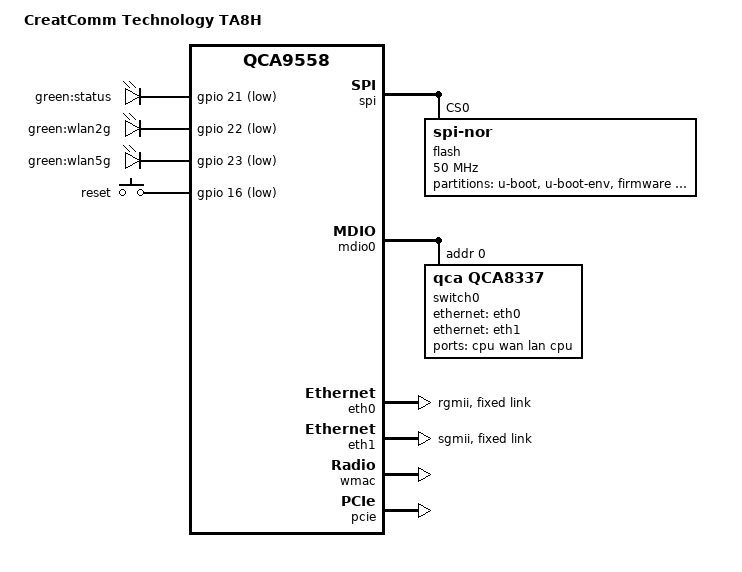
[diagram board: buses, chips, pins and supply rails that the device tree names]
// SPDX-License-Identifier: GPL-2.0-or-later OR MIT

/dts-v1/;

#include <dt-bindings/gpio/gpio.h>
#include <dt-bindings/input/input.h>

#include "qca955x.dtsi"

/ {
	compatible = "creatcomm,ta8h", "qca,qca9558";
	model = "CreatComm Technology TA8H";

	aliases {
		led-boot = &led_status;
		led-failsafe = &led_status;
		led-running = &led_status;
		led-upgrade = &led_status;
		label-mac-device = &eth0;
	};

	leds {
		compatible = "gpio-leds";

		led_status: status {
			label = "green:status";
			gpios = <&gpio 21 GPIO_ACTIVE_LOW>;
			default-state = "on";
		};

		wlan2g {
			label = "green:wlan2g";
			gpios = <&gpio 22 GPIO_ACTIVE_LOW>;
			linux,default-trigger = "phy1tpt";
		};

		wlan5g {
			label = "green:wlan5g";
			gpios = <&gpio 23 GPIO_ACTIVE_LOW>;
			linux,default-trigger = "phy0tpt";
		};
	};

	keys {
		compatible = "gpio-keys";

		reset {
			label = "reset";
			linux,code = <KEY_RESTART>;
			gpios = <&gpio 16 GPIO_ACTIVE_LOW>;
			debounce-interval = <60>;
		};
	};
};

&spi {
	status = "okay";

	flash@0 {
		compatible = "jedec,spi-nor";
		reg = <0>;
		spi-max-frequency = <50000000>;

		partitions {
			compatible = "fixed-partitions";
			#address-cells = <1>;
			#size-cells = <1>;

			partition@0 {
				label = "u-boot";
				reg = <0x000000 0x040000>;
				read-only;
			};

			partition@40000 {
				label = "u-boot-env";
				reg = <0x040000 0x010000>;
			};

			partition@50000 {
				compatible = "openwrt,uimage", "denx,uimage";
				openwrt,ih-magic = <0x27051956>;
				label = "firmware";
				reg = <0x050000 0xfa0000>;
			};

			art: partition@ff0000 {
				label = "art";
				reg = <0xff0000 0x010000>;
				read-only;

				nvmem-layout {
					compatible = "fixed-layout";
					#address-cells = <1>;
					#size-cells = <1>;

					macaddr_art_0: macaddr@0 {
						reg = <0x0 0x6>;
					};

					macaddr_art_6: macaddr@6 {
						reg = <0x6 0x6>;
					};

					cal_art_1000: cal@1000 {
						reg = <0x1000 0x440>;
					};

					cal_art_5000: cal@5000 {
						reg = <0x5000 0x844>;
					};
				};
			};
		};
	};
};

&mdio0 {
	status = "okay";

	switch0: switch@0 {
		compatible = "qca,qca8337", "qca,ar8327";
		reg = <0>;

		qca,ar8327-initvals = <
			0x04 0x03000101 /* PORT0 PAD MODE: RGMII with TX/RX clock delay */
			0x0c 0x4a000000 /* PORT6 PAD MODE: SGMII */
			0x7c 0x0000007e /* PORT0 STATUS: 1000M Full Duplex */
			0x94 0x0000007e /* PORT6 STATUS: 1000M Full Duplex */
		>;

		ports {
			#address-cells = <1>;
			#size-cells = <0>;

			port@0 {
				reg = <0>;
				label = "cpu";
				ethernet = <&eth0>;
				phy-mode = "rgmii";

				fixed-link {
					speed = <1000>;
					full-duplex;
				};
			};

			port@2 {
				reg = <2>;
				label = "wan";
			};

			port@3 {
				reg = <3>;
				label = "lan";
			};

			port@6 {
				reg = <6>;
				label = "cpu";
				ethernet = <&eth1>;
				phy-mode = "sgmii";

				fixed-link {
					speed = <1000>;
					full-duplex;
				};
			};
		};
	};
};

&eth0 {
	status = "okay";
	phy-mode = "rgmii";
	nvmem-cells = <&macaddr_art_0>;
	nvmem-cell-names = "mac-address";

	fixed-link {
		speed = <1000>;
		full-duplex;
	};
};

&eth1 {
	status = "okay";
	phy-mode = "sgmii";
	nvmem-cells = <&macaddr_art_6>;
	nvmem-cell-names = "mac-address";

	fixed-link {
		speed = <1000>;
		full-duplex;
	};
};

&wmac {
	status = "okay";
	nvmem-cells = <&cal_art_1000>;
	nvmem-cell-names = "calibration";
};

&pcie {
	status = "okay";

	ath10k: wifi@0,0 {
		reg = <0x0000 0 0 0 0>;
		nvmem-cells = <&cal_art_5000>;
		nvmem-cell-names = "calibration";
	};
};

